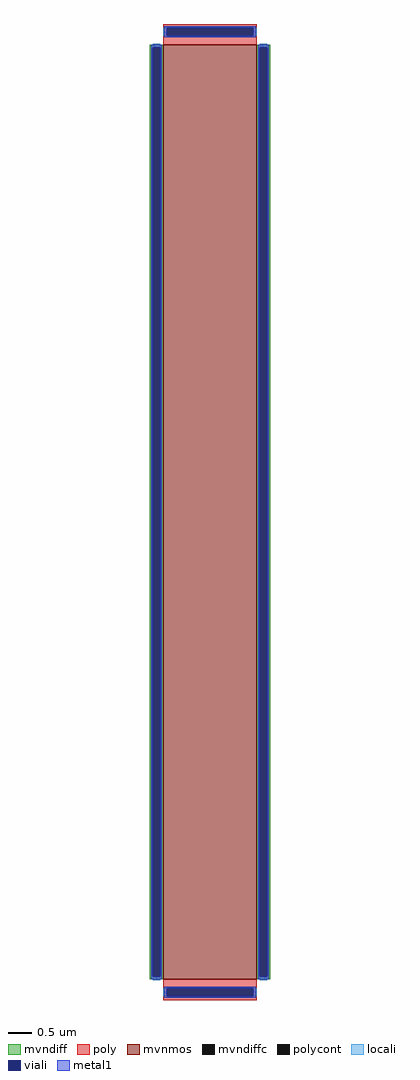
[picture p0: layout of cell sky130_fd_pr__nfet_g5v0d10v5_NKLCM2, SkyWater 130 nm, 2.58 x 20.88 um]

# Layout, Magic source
magic
tech sky130A
<< mvnmos >>
rect -100 -1000 100 1000
<< mvndiff >>
rect -129 994 -100 1000
rect -129 -994 -123 994
rect -106 -994 -100 994
rect -129 -1000 -100 -994
rect 100 994 129 1000
rect 100 -994 106 994
rect 123 -994 129 994
rect 100 -1000 129 -994
<< mvndiffc >>
rect -123 -994 -106 994
rect 106 -994 123 994
<< poly >>
rect -100 1036 100 1044
rect -100 1019 -92 1036
rect 92 1019 100 1036
rect -100 1000 100 1019
rect -100 -1019 100 -1000
rect -100 -1036 -92 -1019
rect 92 -1036 100 -1019
rect -100 -1044 100 -1036
<< polycont >>
rect -92 1019 92 1036
rect -92 -1036 92 -1019
<< locali >>
rect -100 1019 -92 1036
rect 92 1019 100 1036
rect -123 994 -106 1002
rect -123 -1002 -106 -994
rect 106 994 123 1002
rect 106 -1002 123 -994
rect -100 -1036 -92 -1019
rect 92 -1036 100 -1019
<< viali >>
rect -92 1019 92 1036
rect -123 -994 -106 994
rect 106 -994 123 994
rect -92 -1036 92 -1019
<< metal1 >>
rect -98 1036 98 1039
rect -98 1019 -92 1036
rect 92 1019 98 1036
rect -98 1016 98 1019
rect -126 994 -103 1000
rect -126 -994 -123 994
rect -106 -994 -103 994
rect -126 -1000 -103 -994
rect 103 994 126 1000
rect 103 -994 106 994
rect 123 -994 126 994
rect 103 -1000 126 -994
rect -98 -1019 98 -1016
rect -98 -1036 -92 -1019
rect 92 -1036 98 -1019
rect -98 -1039 98 -1036
<< properties >>
string gencell sky130_fd_pr__nfet_g5v0d10v5
string library sky130
string parameters w 20 l 2 m 1 nf 1 diffcov 100 polycov 100 guard 0 glc 0 grc 0 gtc 0 gbc 0 tbcov 100 rlcov 100 topc 1 botc 1 poverlap 0 doverlap 1 lmin 0.50 wmin 0.42 compatible {sky130_fd_pr__nfet_01v8 sky130_fd_pr__nfet_01v8_lvt  sky130_fd_bs_flash__special_sonosfet_star  sky130_fd_pr__nfet_g5v0d10v5 sky130_fd_pr__nfet_05v0_nvt  sky130_fd_pr__nfet_03v3_nvt} full_metal 0 viasrc 100 viadrn 100 viagate 100 viagb 0 viagr 0 viagl 0 viagt 0
<< end >>
